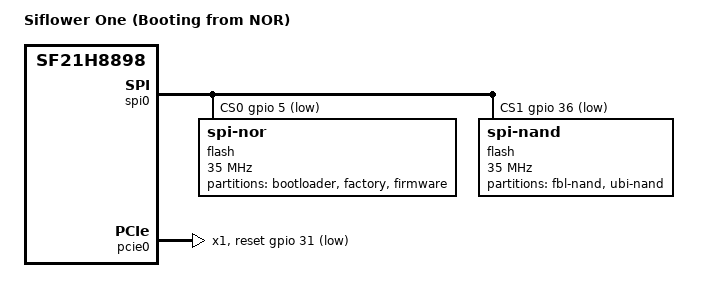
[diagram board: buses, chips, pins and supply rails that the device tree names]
/dts-v1/;
#include "sf21h8898-siflower-one.dtsi"


/ {
	model = "Siflower One (Booting from NOR)";
	compatible = "siflower,one-nor", "siflower,sf21h8898";

	chosen {
		stdout-path = "serial1:115200n8";
		rootdisk = <&rootdisk>;
	};
};

&spi0 {
	status = "okay";
	num-cs = <2>;
	cs-gpios = <&gpio 5 GPIO_ACTIVE_LOW>, <&gpio 36 GPIO_ACTIVE_LOW>;

	flash@0 {
		compatible = "jedec,spi-nor";
		reg = <0>;
		spi-max-frequency = <35000000>;
		spi-tx-bus-width = <2>;
		spi-rx-bus-width = <2>;
		#address-cells = <1>;
		#size-cells = <1>;

	        partitions {
			compatible = "fixed-partitions";
			#address-cells = <1>;
			#size-cells = <1>;

			partition@0 {
				label = "bootloader";
				reg = <0x0 0x90000>;
				read-only;
			};

			factory: partition@90000 {
				label = "factory";
				reg = <0x90000 0x10000>;
			};

			rootdisk: partition@a0000 {
				label = "firmware";
				reg = <0xa0000 0xf60000>;
				compatible = "denx,fit";
			};
		};
	};

	flash@1 {
		compatible = "spi-nand";
		reg = <1>;
		spi-max-frequency = <35000000>;
		spi-tx-bus-width = <2>;
		spi-rx-bus-width = <2>;
		#address-cells = <1>;
		#size-cells = <1>;

	        partitions {
			compatible = "fixed-partitions";
			#address-cells = <1>;
			#size-cells = <1>;

			partition@0 {
				label = "fbl-nand";
				reg = <0x0 0x20000>;
			};

			partition@20000 {
				label = "ubi-nand";
				reg = <0x20000 0x0>;
			};
		};
	};
};

&pcie0 {
        reset-gpios = <&gpio 31 GPIO_ACTIVE_LOW>;
        reset-ms = <100>;
        num-lanes = <1>;
        lane-mode = <0>;
        status = "okay";
        pcie@0,0 {
                reg = <0x0000 0 0 0 0>;
                #address-cells = <3>;
                #size-cells = <2>;

                wifi@0,0 {
                        reg = <0x0 0 0 0 0>;
                        nvmem-cells = <&mtd_mac_address>, <&mtd_wifi_version>, <&mtd_wifi_info>, <&mtd_rssi_offset>, <&mtd_refpower>, <&mtd_calipower>;
                        nvmem-cell-names = "mac-address", "wifi-version", "wifi-info", "rssi-offset", "refpower", "calipower";
                        mac-address-increment = <2>;
                };

                wifi@0,1 {
                        reg = <0x100 0 0 0 0>;
                        nvmem-cells = <&mtd_mac_address>, <&mtd_wifi_version>, <&mtd_wifi_info>, <&mtd_rssi_offset>, <&mtd_refpower>, <&mtd_calipower>;
                        nvmem-cell-names = "mac-address", "wifi-version", "wifi-info", "rssi-offset", "refpower", "calipower";
                        mac-address-increment = <6>;
                };
        };
};
#include "sf21a6826-factory.dtsi"
